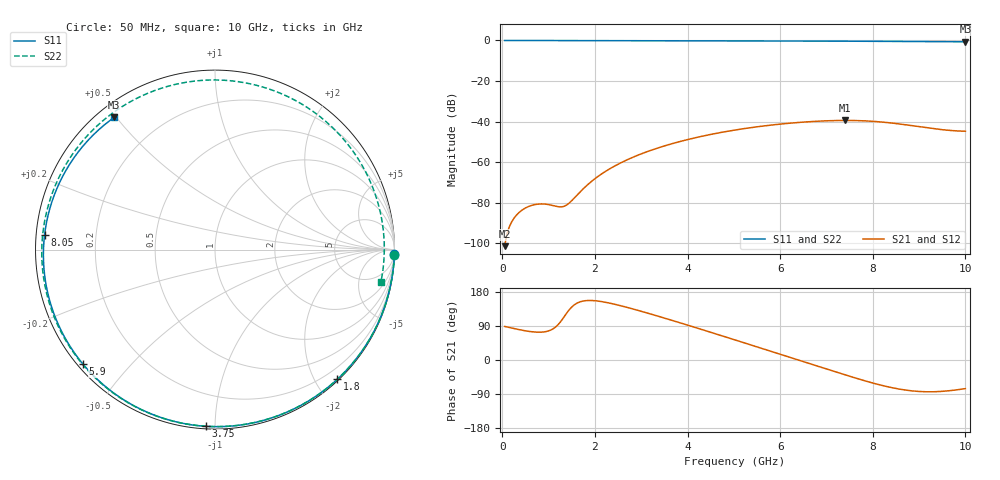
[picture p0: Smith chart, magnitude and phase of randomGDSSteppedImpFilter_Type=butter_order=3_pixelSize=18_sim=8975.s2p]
! freq	dB(S11)	phase(S11)	dB(S12)	phase(S12)
!  dB(S21)	phase(S21)	dB(S22)	phase(S22)
!S-par simulation data
#  GHz  S  DB  R 50
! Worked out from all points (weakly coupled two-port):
!   200 points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, 50 MHz to 10 GHz, reference 50 ohm
!   highest |S21| = -39.40 dB at 7.4 GHz (marker M1); lowest = -101.3 dB at 50 MHz (marker M2)
!   lowest |S11| = -0.7 dB at 10 GHz (marker M3), VSWR 26.16, Z = 2.38 + j24.7 ohm
!   |S11| at or under -10 dB: nowhere
!   |S22| runs from -0.5 to 0.0 dB; largest |S21 - S12| = 0
!   S11 on the Smith chart (normalised r, x): 50 MHz: 0, -86; 1.8 GHz: 0.02, -2.32; 3.75 GHz: 0.01, -0.95; 5.9 GHz: 0.02, -0.37; 8.05 GHz: 0.02, +0.04; 10 GHz: 0.05, +0.49
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0.05  -0.00 -1.3  -101.34 88.6  -101.34 88.6  -0.00 -1.6
0.75  -0.03 -19.8  -80.68 73.5  -80.68 73.5  -0.03 -23.5
1.45  -0.05 -37.8  -80.00 133.2  -80.00 133.2  -0.06 -45.2
1.75  -0.06 -45.4  -73.02 155.7  -73.02 155.7  -0.07 -54.3
1.8  -0.06 -46.7  -71.95 156.6  -71.95 156.6  -0.07 -55.9
2.1  -0.07 -54.1  -66.44 155.0  -66.44 155.0  -0.09 -65.0
2.45  -0.08 -62.7  -61.56 146.5  -61.56 146.5  -0.10 -75.5
3.4  -0.11 -85.0  -52.67 114.3  -52.67 114.3  -0.14 -104.0
3.75  -0.12 -92.9  -50.32 101.4  -50.32 101.4  -0.16 -114.5
4.4  -0.15 -107.3  -46.76 77.0  -46.76 77.0  -0.20 -134.4
5.05  -0.18 -121.2  -44.03 52.0  -44.03 52.0  -0.25 -155.2
5.9  -0.23 -139.0  -41.45 19.1  -41.45 19.1  -0.32 175.3
6.3  -0.26 -147.4  -40.58 3.6  -40.58 3.6  -0.36 160.2
6.7  -0.29 -155.7  -39.92 -12.0  -39.92 -12.0  -0.40 144.1
7.4  -0.35 -170.6  -39.40 -39.0  -39.40 -39.0  -0.46 113.4
7.75  -0.39 -178.2  -39.54 -52.1  -39.54 -52.1  -0.48 96.8
8.05  -0.42 175.2  -39.91 -62.4  -39.91 -62.4  -0.50 82.1
8.35  -0.45 168.4  -40.53 -71.4  -40.53 -71.4  -0.50 67.2
8.8  -0.50 157.9  -41.83 -80.8  -41.83 -80.8  -0.50 44.6
9.2  -0.55 148.2  -43.12 -83.9  -43.12 -83.9  -0.50 25.0
9.6  -0.61 138.0  -44.19 -81.7  -44.19 -81.7  -0.50 6.3
10  -0.66 127.4  -44.72 -75.6  -44.72 -75.6  -0.52 -11.2
